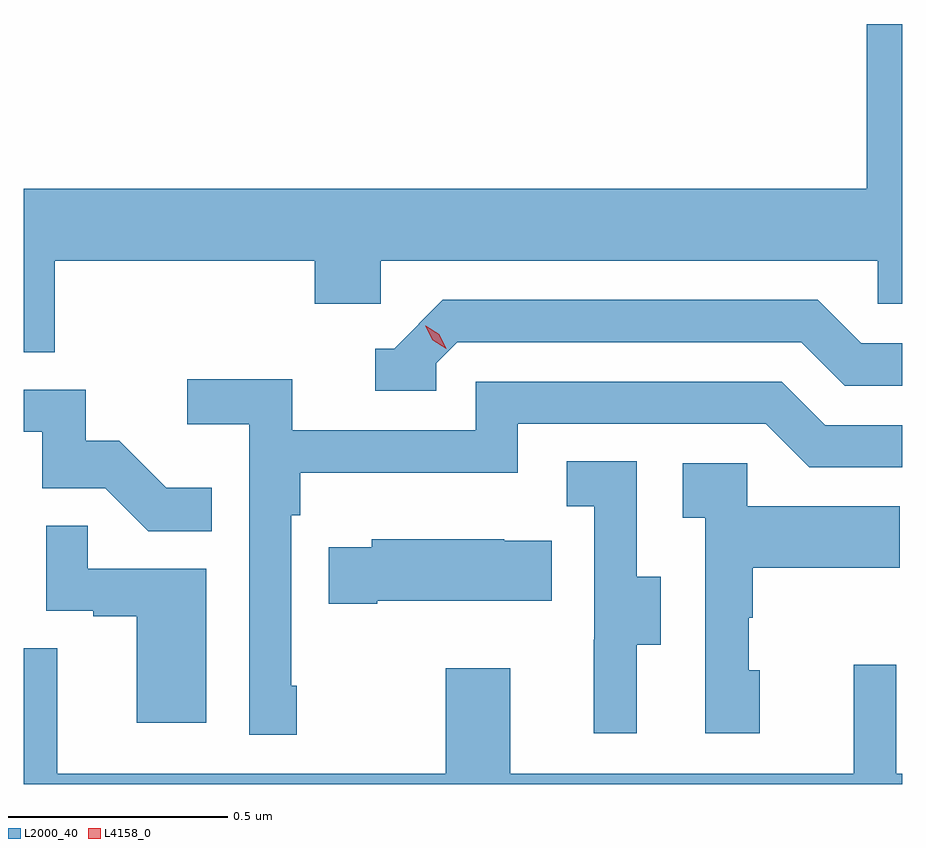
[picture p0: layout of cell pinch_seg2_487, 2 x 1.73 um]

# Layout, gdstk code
import gdstk
lib = gdstk.Library(unit=1e-6, precision=1e-09)
def P(c, l, *ps):  # polygons
    for p in ps: c.add(gdstk.Polygon(p, *l))
L2000_40 = (2000, 40)
L4158_0 = (4158, 0)

pinch_seg2_487 = lib.new_cell('pinch_seg2_487')
P(pinch_seg2_487, L2000_40, [(930.392,594.356),(930.983,594.356),(930.983,594.258),(931.134,594.258),(931.134,594.356),(932.265,594.356),(932.265,594.258),(932.321,594.258),(932.321,594.895),(932.24,594.895),(932.24,594.52),(930.321,594.52),(930.321,594.148),(930.392,594.148)],
  [(931.26,594.123),(931.308,594.171),(932.091,594.171),(932.19,594.072),(932.321,594.072),(932.321,594.168),(932.227,594.168),(932.128,594.267),(931.275,594.267),(931.164,594.156),(931.121,594.156),(931.121,594.06),(931.26,594.06)],
  [(930.943,593.389),(930.93,593.389),(930.93,593.777),(930.95,593.777),(930.95,593.873),(931.446,593.873),(931.446,593.985),(932.01,593.985),(932.109,593.886),(932.321,593.886),(932.321,593.982),(932.146,593.982),(932.047,594.081),(931.35,594.081),(931.35,593.97),(930.932,593.97),(930.932,594.086),(930.693,594.086),(930.693,593.984),(930.834,593.984),(930.834,593.277),(930.943,593.277)],
  [(930.749,593.839),(930.645,593.839),(930.538,593.946),(930.462,593.946),(930.462,594.063),(930.321,594.063),(930.321,593.967),(930.363,593.967),(930.363,593.838),(930.507,593.838),(930.605,593.74),(930.749,593.74)],
  [(931.717,593.482),(931.771,593.482),(931.771,593.637),(931.716,593.637),(931.716,593.9),(931.557,593.9),(931.557,593.797),(931.62,593.797),(931.62,593.493),(931.619,593.493),(931.619,593.28),(931.717,593.28)],
  [(931.996,593.424),(931.971,593.424),(931.971,593.543),(931.981,593.543),(931.981,593.657),(932.315,593.657),(932.315,593.797),(931.968,593.797),(931.968,593.895),(931.821,593.895),(931.821,593.771),(931.872,593.771),(931.872,593.28),(931.996,593.28)],
  [(930.736,593.655),(930.467,593.655),(930.467,593.753),(930.372,593.753),(930.372,593.559),(930.479,593.559),(930.479,593.547),(930.578,593.547),(930.578,593.304),(930.736,593.304)],
  [(931.126,593.582),(931.523,593.582),(931.523,593.719),(931.415,593.719),(931.415,593.722),(931.113,593.722),(931.113,593.704),(931.015,593.704),(931.015,593.575),(931.126,593.575)],
  [(932.321,593.188),(932.307,593.188),(932.307,593.437),(932.21,593.437),(932.21,593.188),(931.429,593.188),(931.429,593.428),(931.282,593.428),(931.282,593.188),(930.397,593.188),(930.397,593.474),(930.321,593.474),(930.321,593.165),(932.321,593.165)])
P(pinch_seg2_487, L4158_0, [(931.283,594.156),(931.252,594.175),(931.235,594.208),(931.235,594.208),(931.236,594.208),(931.267,594.189),(931.283,594.157),(931.283,594.156)])

lib.write_gds('pinch_seg2_487.gds')
